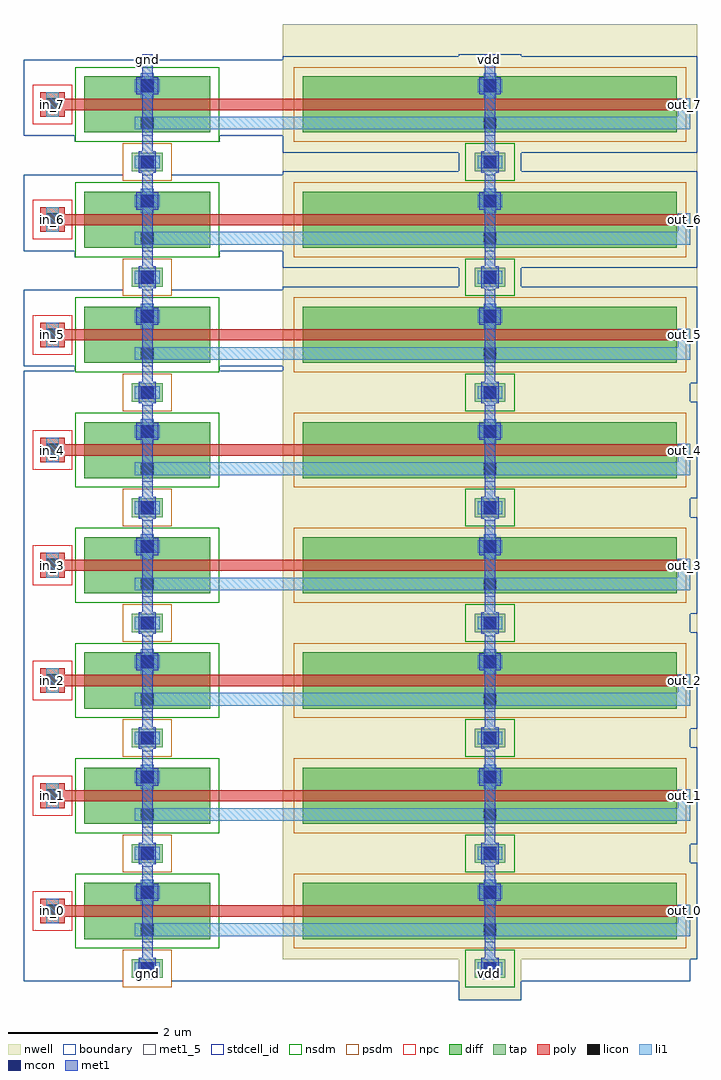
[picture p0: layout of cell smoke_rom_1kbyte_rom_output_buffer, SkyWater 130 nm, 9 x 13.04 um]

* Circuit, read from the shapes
.subckt smoke_rom_1kbyte_rom_output_buffer gnd in_0 in_1 in_2 in_3 in_4 in_5 in_6 in_7 out_0 out_1 out_2 out_3 out_4 out_5 out_6 out_7 vdd
XM1 gnd in_0 out_0 gnd sky130_fd_pr__nfet_01v8 w=1.68 l=0.15
XM2 gnd in_1 out_1 gnd sky130_fd_pr__nfet_01v8 w=1.68 l=0.15
XM3 gnd in_2 out_2 gnd sky130_fd_pr__nfet_01v8 w=1.68 l=0.15
XM4 gnd in_3 out_3 gnd sky130_fd_pr__nfet_01v8 w=1.68 l=0.15
XM5 gnd in_4 out_4 gnd sky130_fd_pr__nfet_01v8 w=1.68 l=0.15
XM6 gnd in_5 out_5 gnd sky130_fd_pr__nfet_01v8 w=1.68 l=0.15
XM7 gnd in_6 out_6 gnd sky130_fd_pr__nfet_01v8 w=1.68 l=0.15
XM8 gnd in_7 out_7 gnd sky130_fd_pr__nfet_01v8 w=1.68 l=0.15
XM9 vdd in_0 out_0 vdd sky130_fd_pr__pfet_01v8 w=5 l=0.15
XM10 vdd in_1 out_1 vdd sky130_fd_pr__pfet_01v8 w=5 l=0.15
XM11 vdd in_2 out_2 vdd sky130_fd_pr__pfet_01v8 w=5 l=0.15
XM12 vdd in_3 out_3 vdd sky130_fd_pr__pfet_01v8 w=5 l=0.15
XM13 vdd in_4 out_4 vdd sky130_fd_pr__pfet_01v8 w=5 l=0.15
XM14 vdd in_5 out_5 vdd sky130_fd_pr__pfet_01v8 w=5 l=0.15
XM15 vdd in_6 out_6 vdd sky130_fd_pr__pfet_01v8 w=5 l=0.15
XM16 vdd in_7 out_7 vdd sky130_fd_pr__pfet_01v8 w=5 l=0.15
.ends

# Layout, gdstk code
from math import pi, radians
import gdstk
lib = gdstk.Library(unit=1e-6, precision=1e-09)
def R(c, l, rs):  # rectangles x0, y0, x1, y1
    for r in rs: c.add(gdstk.rectangle(r[:2], r[2:], *l))
def A(c, l, x, y, w, h, nx, ny, dx, dy):  # array of equal rectangles
    R(c, l, [(x+i*dx, y+j*dy, x+i*dx+w, y+j*dy+h) for i in range(nx) for j in range(ny)])
nwell = (64, 20)
diff = (65, 20)
tap = (65, 44)
poly = (66, 20)
licon = (66, 44)
li1 = (67, 20)
mcon = (67, 44)
met1_5 = (68, 5)
met1 = (68, 20)
stdcell_id = (81, 4)
nsdm = (93, 44)
psdm = (94, 20)
npc = (95, 20)
boundary = (235, 4)

smoke_rom_1kbyte_contact = lib.new_cell('smoke_rom_1kbyte_contact_10')
R(smoke_rom_1kbyte_contact, nwell, [(-0.295,-0.255,0.545,0.585)])
R(smoke_rom_1kbyte_contact, diff, [(0,0.02,0.25,0.31)])
R(smoke_rom_1kbyte_contact, licon, [(0.04,0.08,0.21,0.25)])
R(smoke_rom_1kbyte_contact, li1, [(0.04,0,0.21,0.33)])
R(smoke_rom_1kbyte_contact, stdcell_id, [(-0.295,-0.255,0.545,0.585)])
R(smoke_rom_1kbyte_contact, psdm, [(-0.125,-0.105,0.375,0.435)])
R(smoke_rom_1kbyte_contact, boundary, [(-0.295,-0.255,0.545,0.585)])

smoke_rom_1kbyte_pmos_m1 = lib.new_cell('smoke_rom_1kbyte_pmos_m1_w5_000_sli_dli_da_p')
R(smoke_rom_1kbyte_pmos_m1, nwell, [(-0.27,-0.27,1.02,5.27)])
R(smoke_rom_1kbyte_pmos_m1, diff, [(0,0,0.75,5)])
R(smoke_rom_1kbyte_pmos_m1, poly, [(0.3,-0.13,0.45,5.13), (0.3,-0.13,0.45,5.13)])
R(smoke_rom_1kbyte_pmos_m1, li1, [(0.04,2.335,0.21,2.665), (0.54,2.335,0.71,2.665)])
R(smoke_rom_1kbyte_pmos_m1, stdcell_id, [(-0.27,-0.27,1.02,5.27)])
R(smoke_rom_1kbyte_pmos_m1, psdm, [(-0.125,-0.125,0.875,5.125)])
R(smoke_rom_1kbyte_pmos_m1, boundary, [(-0.27,-0.27,1.02,5.27)])
smoke_rom_1kbyte_pmos_m1.add(gdstk.Reference(smoke_rom_1kbyte_contact, (0,2.335)))
smoke_rom_1kbyte_pmos_m1.add(gdstk.Reference(smoke_rom_1kbyte_contact, (0.5,2.335)))
smoke_rom_1kbyte_pmos_m1.add(gdstk.Label('G', (0.375,2.5), layer=66, texttype=5))
smoke_rom_1kbyte_pmos_m1.add(gdstk.Label('S', (0.125,2.5), layer=67, texttype=5))
smoke_rom_1kbyte_pmos_m1.add(gdstk.Label('D', (0.625,2.5), layer=67, texttype=5))

c_smoke_rom_1kbyte_contact = lib.new_cell('smoke_rom_1kbyte_contact_8')
R(c_smoke_rom_1kbyte_contact, diff, [(0,0.02,0.25,0.31)])
R(c_smoke_rom_1kbyte_contact, licon, [(0.04,0.08,0.21,0.25)])
R(c_smoke_rom_1kbyte_contact, li1, [(0.04,0,0.21,0.33)])
R(c_smoke_rom_1kbyte_contact, stdcell_id, [(-0.125,-0.105,0.375,0.435)])
R(c_smoke_rom_1kbyte_contact, nsdm, [(-0.125,-0.105,0.375,0.435)])
R(c_smoke_rom_1kbyte_contact, boundary, [(-0.125,-0.105,0.375,0.435)])

smoke_rom_1kbyte_nmos_m1 = lib.new_cell('smoke_rom_1kbyte_nmos_m1_w1_680_sli_dli_da_p')
R(smoke_rom_1kbyte_nmos_m1, diff, [(0,0,0.75,1.68)])
R(smoke_rom_1kbyte_nmos_m1, poly, [(0.3,-0.13,0.45,1.81), (0.3,-0.13,0.45,1.81)])
R(smoke_rom_1kbyte_nmos_m1, li1, [(0.04,0.675,0.21,1.005), (0.54,0.675,0.71,1.005)])
R(smoke_rom_1kbyte_nmos_m1, stdcell_id, [(-0.125,-0.13,0.875,1.81)])
R(smoke_rom_1kbyte_nmos_m1, nsdm, [(-0.125,-0.125,0.875,1.805)])
R(smoke_rom_1kbyte_nmos_m1, boundary, [(-0.125,-0.13,0.875,1.81)])
smoke_rom_1kbyte_nmos_m1.add(gdstk.Reference(c_smoke_rom_1kbyte_contact, (0,0.675)))
smoke_rom_1kbyte_nmos_m1.add(gdstk.Reference(c_smoke_rom_1kbyte_contact, (0.5,0.675)))
smoke_rom_1kbyte_nmos_m1.add(gdstk.Label('G', (0.375,0.84), layer=66, texttype=5))
smoke_rom_1kbyte_nmos_m1.add(gdstk.Label('S', (0.125,0.84), layer=67, texttype=5))
smoke_rom_1kbyte_nmos_m1.add(gdstk.Label('D', (0.625,0.84), layer=67, texttype=5))

c_smoke_rom_1kbyte_contact_ = lib.new_cell('smoke_rom_1kbyte_contact_11')
R(c_smoke_rom_1kbyte_contact_, poly, [(0,0,0.33,0.33)])
R(c_smoke_rom_1kbyte_contact_, licon, [(0.08,0.08,0.25,0.25)])
R(c_smoke_rom_1kbyte_contact_, li1, [(0.08,0,0.25,0.33)])
R(c_smoke_rom_1kbyte_contact_, stdcell_id, [(-0.1,-0.1,0.43,0.43)])
R(c_smoke_rom_1kbyte_contact_, npc, [(-0.1,-0.1,0.43,0.43)])
R(c_smoke_rom_1kbyte_contact_, boundary, [(-0.1,-0.1,0.43,0.43)])

c_smoke_rom_1kbyte_contact__ = lib.new_cell('smoke_rom_1kbyte_contact_12')
R(c_smoke_rom_1kbyte_contact__, li1, [(0.06,0,0.23,0.33)])
R(c_smoke_rom_1kbyte_contact__, mcon, [(0.06,0.08,0.23,0.25)])
R(c_smoke_rom_1kbyte_contact__, met1, [(0,0.05,0.29,0.28)])
R(c_smoke_rom_1kbyte_contact__, stdcell_id, [(0,0,0.29,0.33)])
R(c_smoke_rom_1kbyte_contact__, boundary, [(0,0,0.29,0.33)])

smoke_rom_1kbyte_pinv_de = lib.new_cell('smoke_rom_1kbyte_pinv_dec_4')
R(smoke_rom_1kbyte_pinv_de, nwell, [(3.46,0,9,1.495)])
R(smoke_rom_1kbyte_pinv_de, poly, [(0.385,0.345,0.68,0.495), (2.62,0.345,3.6,0.495)])
R(smoke_rom_1kbyte_pinv_de, li1, [(1.485,0.085,8.91,0.255), (0.3,0.255,0.47,0.585)])
R(smoke_rom_1kbyte_pinv_de, met1_5, [(1.58,0,1.72,1.02), (6.16,0,6.3,1.02)])
R(smoke_rom_1kbyte_pinv_de, met1, [(1.58,0,1.72,1.02), (6.16,0,6.3,1.02)])
R(smoke_rom_1kbyte_pinv_de, stdcell_id, [(0,0,8.91,1.02), (0,0,8.91,1.02)])
R(smoke_rom_1kbyte_pinv_de, nsdm, [(0.685,0,2.615,0.795)])
R(smoke_rom_1kbyte_pinv_de, psdm, [(3.605,0,8.855,0.795)])
R(smoke_rom_1kbyte_pinv_de, boundary, [(0,0,8.91,1.02), (0,0,8.91,1.02)])
smoke_rom_1kbyte_pinv_de.add(gdstk.Reference(smoke_rom_1kbyte_pmos_m1, (3.73,0.795), rotation=3*pi/2))
smoke_rom_1kbyte_pinv_de.add(gdstk.Reference(smoke_rom_1kbyte_nmos_m1, (0.81,0.795), rotation=3*pi/2))
smoke_rom_1kbyte_pinv_de.add(gdstk.Reference(c_smoke_rom_1kbyte_contact_, (0.22,0.255)))
smoke_rom_1kbyte_pinv_de.add(gdstk.Reference(c_smoke_rom_1kbyte_contact__, (1.505,0.505)))
smoke_rom_1kbyte_pinv_de.add(gdstk.Reference(c_smoke_rom_1kbyte_contact__, (6.085,0.505)))
smoke_rom_1kbyte_pinv_de.add(gdstk.Label('A', (0.385,0.42), layer=67, texttype=5))
smoke_rom_1kbyte_pinv_de.add(gdstk.Label('Z', (5.198,0.17), layer=67, texttype=5))
smoke_rom_1kbyte_pinv_de.add(gdstk.Label('gnd', (1.65,0.51), layer=68, texttype=5))
smoke_rom_1kbyte_pinv_de.add(gdstk.Label('vdd', (6.23,0.51), layer=68, texttype=5))

c_smoke_rom_1kbyte_contact___ = lib.new_cell('smoke_rom_1kbyte_contact_15')
R(c_smoke_rom_1kbyte_contact___, nwell, [(-0.215,-0.295,0.625,0.545)])
R(c_smoke_rom_1kbyte_contact___, tap, [(0,0,0.41,0.25)])
R(c_smoke_rom_1kbyte_contact___, licon, [(0.12,0.04,0.29,0.21)])
R(c_smoke_rom_1kbyte_contact___, li1, [(0.04,0.04,0.37,0.21)])
R(c_smoke_rom_1kbyte_contact___, stdcell_id, [(-0.215,-0.295,0.625,0.545)])
R(c_smoke_rom_1kbyte_contact___, nsdm, [(-0.125,-0.125,0.535,0.375)])
R(c_smoke_rom_1kbyte_contact___, boundary, [(-0.215,-0.295,0.625,0.545)])

c_smoke_rom_1kbyte_contact____ = lib.new_cell('smoke_rom_1kbyte_contact_17')
R(c_smoke_rom_1kbyte_contact____, li1, [(0,0.06,0.33,0.23)])
R(c_smoke_rom_1kbyte_contact____, mcon, [(0.08,0.06,0.25,0.23)])
R(c_smoke_rom_1kbyte_contact____, met1, [(0.05,0,0.28,0.29)])
R(c_smoke_rom_1kbyte_contact____, stdcell_id, [(0,0,0.33,0.29)])
R(c_smoke_rom_1kbyte_contact____, boundary, [(0,0,0.33,0.29)])

c_smoke_rom_1kbyte_contact_____ = lib.new_cell('smoke_rom_1kbyte_contact_16')
R(c_smoke_rom_1kbyte_contact_____, tap, [(0,0,0.41,0.25)])
R(c_smoke_rom_1kbyte_contact_____, licon, [(0.12,0.04,0.29,0.21)])
R(c_smoke_rom_1kbyte_contact_____, li1, [(0.04,0.04,0.37,0.21)])
R(c_smoke_rom_1kbyte_contact_____, stdcell_id, [(-0.125,-0.125,0.535,0.375)])
R(c_smoke_rom_1kbyte_contact_____, psdm, [(-0.125,-0.125,0.535,0.375)])
R(c_smoke_rom_1kbyte_contact_____, boundary, [(-0.125,-0.125,0.535,0.375)])

smoke_rom_1kbyte_rom_out = lib.new_cell('smoke_rom_1kbyte_rom_output_buffer')
A(smoke_rom_1kbyte_rom_out, li1, 8.74, 0.69, 0.17, 0.335, 1, 8, 0, 1.54)
A(smoke_rom_1kbyte_rom_out, li1, 0.3, 0.775, 0.17, 0.33, 1, 8, 0, 1.54)
A(smoke_rom_1kbyte_rom_out, li1, 8.74, 0.855, 0.17, 0.17, 1, 8, 0, 1.54)
R(smoke_rom_1kbyte_rom_out, met1_5, [(1.58,0.03,1.72,0.17), (6.16,0.03,6.3,0.17), (1.58,12.25,1.72,12.39), (6.16,12.25,6.3,12.39)])
R(smoke_rom_1kbyte_rom_out, met1, [(1.58,0.03,1.72,0.17), (1.58,0.03,1.72,12.39), (6.16,0.03,6.3,0.17), (6.16,0.03,6.3,12.39), (1.58,0.1,1.72,0.24), (6.16,0.1,6.3,0.24), (1.58,0.96,1.72,1.1), (6.16,0.96,6.3,1.1), (1.58,1.64,1.72,1.78), (6.16,1.64,6.3,1.78), (1.58,2.5,1.72,2.64), (6.16,2.5,6.3,2.64), (1.58,3.18,1.72,3.32), (6.16,3.18,6.3,3.32), (1.58,4.04,1.72,4.18), (6.16,4.04,6.3,4.18), (1.58,4.72,1.72,4.86), (6.16,4.72,6.3,4.86), (1.58,5.58,1.72,5.72), (6.16,5.58,6.3,5.72), (1.58,6.26,1.72,6.4), (6.16,6.26,6.3,6.4), (1.58,7.12,1.72,7.26), (6.16,7.12,6.3,7.26), (1.58,7.8,1.72,7.94), (6.16,7.8,6.3,7.94), (1.58,8.66,1.72,8.8), (6.16,8.66,6.3,8.8), (1.58,9.34,1.72,9.48), (6.16,9.34,6.3,9.48), (1.58,10.2,1.72,10.34), (6.16,10.2,6.3,10.34), (1.58,10.88,1.72,11.02), (6.16,10.88,6.3,11.02), (1.58,11.74,1.72,11.88), (6.16,11.74,6.3,11.88), (1.58,12.25,1.72,12.39), (6.16,12.25,6.3,12.39)])
R(smoke_rom_1kbyte_rom_out, stdcell_id, [(0,0,8.91,8.16)])
R(smoke_rom_1kbyte_rom_out, boundary, [(0,0,8.91,8.16)])
smoke_rom_1kbyte_rom_out.add(gdstk.Reference(smoke_rom_1kbyte_pinv_de, (0,0.52)))
smoke_rom_1kbyte_rom_out.add(gdstk.Reference(smoke_rom_1kbyte_pinv_de, (0,2.06)))
smoke_rom_1kbyte_rom_out.add(gdstk.Reference(smoke_rom_1kbyte_pinv_de, (0,3.6)))
smoke_rom_1kbyte_rom_out.add(gdstk.Reference(smoke_rom_1kbyte_pinv_de, (0,5.14)))
smoke_rom_1kbyte_rom_out.add(gdstk.Reference(smoke_rom_1kbyte_pinv_de, (0,6.68)))
smoke_rom_1kbyte_rom_out.add(gdstk.Reference(smoke_rom_1kbyte_pinv_de, (0,8.22)))
smoke_rom_1kbyte_rom_out.add(gdstk.Reference(smoke_rom_1kbyte_pinv_de, (0,9.76)))
smoke_rom_1kbyte_rom_out.add(gdstk.Reference(smoke_rom_1kbyte_pinv_de, (0,11.3)))
smoke_rom_1kbyte_rom_out.add(gdstk.Reference(c_smoke_rom_1kbyte_contact___, (6.025,0.045)))
smoke_rom_1kbyte_rom_out.add(gdstk.Reference(c_smoke_rom_1kbyte_contact____, (6.065,0.025)))
smoke_rom_1kbyte_rom_out.add(gdstk.Reference(c_smoke_rom_1kbyte_contact_____, (1.445,0.045)))
smoke_rom_1kbyte_rom_out.add(gdstk.Reference(c_smoke_rom_1kbyte_contact____, (1.485,0.025)))
smoke_rom_1kbyte_rom_out.add(gdstk.Reference(c_smoke_rom_1kbyte_contact___, (6.025,1.585)))
smoke_rom_1kbyte_rom_out.add(gdstk.Reference(c_smoke_rom_1kbyte_contact____, (6.065,1.565)))
smoke_rom_1kbyte_rom_out.add(gdstk.Reference(c_smoke_rom_1kbyte_contact_____, (1.445,1.585)))
smoke_rom_1kbyte_rom_out.add(gdstk.Reference(c_smoke_rom_1kbyte_contact____, (1.485,1.565)))
smoke_rom_1kbyte_rom_out.add(gdstk.Reference(c_smoke_rom_1kbyte_contact___, (6.025,3.125)))
smoke_rom_1kbyte_rom_out.add(gdstk.Reference(c_smoke_rom_1kbyte_contact____, (6.065,3.105)))
smoke_rom_1kbyte_rom_out.add(gdstk.Reference(c_smoke_rom_1kbyte_contact_____, (1.445,3.125)))
smoke_rom_1kbyte_rom_out.add(gdstk.Reference(c_smoke_rom_1kbyte_contact____, (1.485,3.105)))
smoke_rom_1kbyte_rom_out.add(gdstk.Reference(c_smoke_rom_1kbyte_contact___, (6.025,4.665)))
smoke_rom_1kbyte_rom_out.add(gdstk.Reference(c_smoke_rom_1kbyte_contact____, (6.065,4.645)))
smoke_rom_1kbyte_rom_out.add(gdstk.Reference(c_smoke_rom_1kbyte_contact_____, (1.445,4.665)))
smoke_rom_1kbyte_rom_out.add(gdstk.Reference(c_smoke_rom_1kbyte_contact____, (1.485,4.645)))
smoke_rom_1kbyte_rom_out.add(gdstk.Reference(c_smoke_rom_1kbyte_contact___, (6.025,6.205)))
smoke_rom_1kbyte_rom_out.add(gdstk.Reference(c_smoke_rom_1kbyte_contact____, (6.065,6.185)))
smoke_rom_1kbyte_rom_out.add(gdstk.Reference(c_smoke_rom_1kbyte_contact_____, (1.445,6.205)))
smoke_rom_1kbyte_rom_out.add(gdstk.Reference(c_smoke_rom_1kbyte_contact____, (1.485,6.185)))
smoke_rom_1kbyte_rom_out.add(gdstk.Reference(c_smoke_rom_1kbyte_contact___, (6.025,7.745)))
smoke_rom_1kbyte_rom_out.add(gdstk.Reference(c_smoke_rom_1kbyte_contact____, (6.065,7.725)))
smoke_rom_1kbyte_rom_out.add(gdstk.Reference(c_smoke_rom_1kbyte_contact_____, (1.445,7.745)))
smoke_rom_1kbyte_rom_out.add(gdstk.Reference(c_smoke_rom_1kbyte_contact____, (1.485,7.725)))
smoke_rom_1kbyte_rom_out.add(gdstk.Reference(c_smoke_rom_1kbyte_contact___, (6.025,9.285)))
smoke_rom_1kbyte_rom_out.add(gdstk.Reference(c_smoke_rom_1kbyte_contact____, (6.065,9.265)))
smoke_rom_1kbyte_rom_out.add(gdstk.Reference(c_smoke_rom_1kbyte_contact_____, (1.445,9.285)))
smoke_rom_1kbyte_rom_out.add(gdstk.Reference(c_smoke_rom_1kbyte_contact____, (1.485,9.265)))
smoke_rom_1kbyte_rom_out.add(gdstk.Reference(c_smoke_rom_1kbyte_contact___, (6.025,10.825)))
smoke_rom_1kbyte_rom_out.add(gdstk.Reference(c_smoke_rom_1kbyte_contact____, (6.065,10.805)))
smoke_rom_1kbyte_rom_out.add(gdstk.Reference(c_smoke_rom_1kbyte_contact_____, (1.445,10.825)))
smoke_rom_1kbyte_rom_out.add(gdstk.Reference(c_smoke_rom_1kbyte_contact____, (1.485,10.805)))
smoke_rom_1kbyte_rom_out.add(gdstk.Label('in_0', (0.385,0.94), layer=67, texttype=5))
smoke_rom_1kbyte_rom_out.add(gdstk.Label('out_0', (8.825,0.94), layer=67, texttype=5))
smoke_rom_1kbyte_rom_out.add(gdstk.Label('in_1', (0.385,2.48), layer=67, texttype=5))
smoke_rom_1kbyte_rom_out.add(gdstk.Label('out_1', (8.825,2.48), layer=67, texttype=5))
smoke_rom_1kbyte_rom_out.add(gdstk.Label('in_2', (0.385,4.02), layer=67, texttype=5))
smoke_rom_1kbyte_rom_out.add(gdstk.Label('out_2', (8.825,4.02), layer=67, texttype=5))
smoke_rom_1kbyte_rom_out.add(gdstk.Label('in_3', (0.385,5.56), layer=67, texttype=5))
smoke_rom_1kbyte_rom_out.add(gdstk.Label('out_3', (8.825,5.56), layer=67, texttype=5))
smoke_rom_1kbyte_rom_out.add(gdstk.Label('in_4', (0.385,7.1), layer=67, texttype=5))
smoke_rom_1kbyte_rom_out.add(gdstk.Label('out_4', (8.825,7.1), layer=67, texttype=5))
smoke_rom_1kbyte_rom_out.add(gdstk.Label('in_5', (0.385,8.64), layer=67, texttype=5))
smoke_rom_1kbyte_rom_out.add(gdstk.Label('out_5', (8.825,8.64), layer=67, texttype=5))
smoke_rom_1kbyte_rom_out.add(gdstk.Label('in_6', (0.385,10.18), layer=67, texttype=5))
smoke_rom_1kbyte_rom_out.add(gdstk.Label('out_6', (8.825,10.18), layer=67, texttype=5))
smoke_rom_1kbyte_rom_out.add(gdstk.Label('in_7', (0.385,11.72), layer=67, texttype=5))
smoke_rom_1kbyte_rom_out.add(gdstk.Label('out_7', (8.825,11.72), layer=67, texttype=5))
smoke_rom_1kbyte_rom_out.add(gdstk.Label('gnd', (1.65,0.1), layer=68, texttype=5))
smoke_rom_1kbyte_rom_out.add(gdstk.Label('gnd', (1.65,12.32), layer=68, texttype=5))
smoke_rom_1kbyte_rom_out.add(gdstk.Label('vdd', (6.23,0.1), layer=68, texttype=5))
smoke_rom_1kbyte_rom_out.add(gdstk.Label('vdd', (6.23,12.32), layer=68, texttype=5))

lib.write_gds('smoke_rom_1kbyte_rom_output_buffer.gds')
